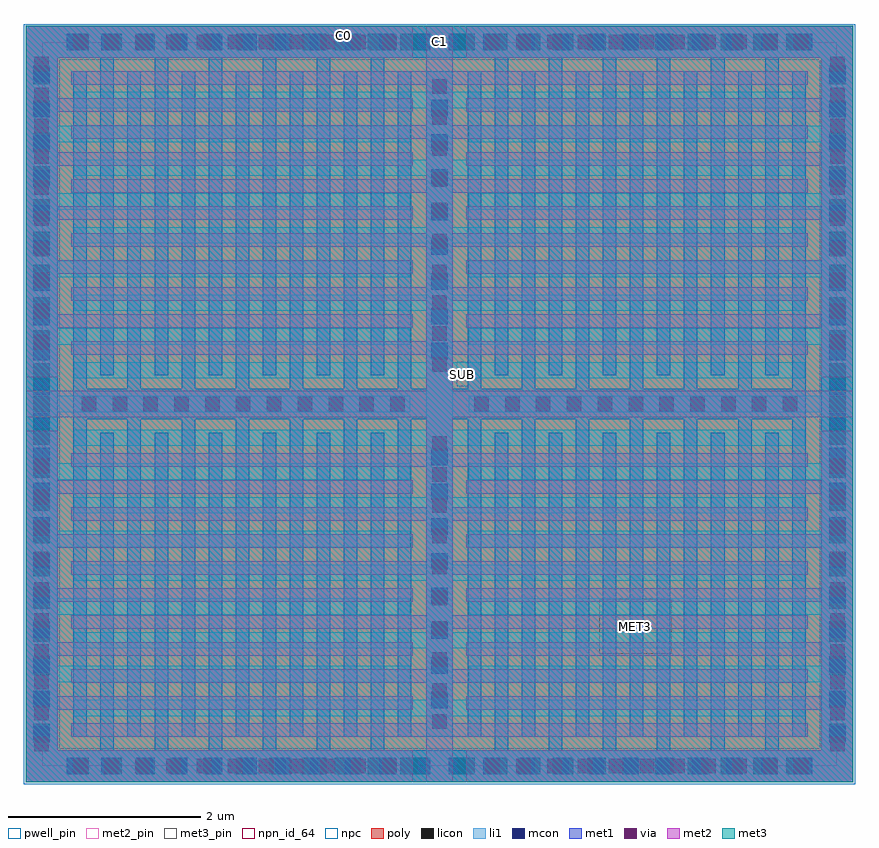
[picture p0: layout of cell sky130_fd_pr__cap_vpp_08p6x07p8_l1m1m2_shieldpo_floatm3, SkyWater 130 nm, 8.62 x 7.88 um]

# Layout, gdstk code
import gdstk
lib = gdstk.Library(unit=1e-6, precision=1e-09)
def R(c, l, rs):  # rectangles x0, y0, x1, y1
    for r in rs: c.add(gdstk.rectangle(r[:2], r[2:], *l))
def A(c, l, x, y, w, h, nx, ny, dx, dy):  # array of equal rectangles
    R(c, l, [(x+i*dx, y+j*dy, x+i*dx+w, y+j*dy+h) for i in range(nx) for j in range(ny)])
poly = (66, 20)
licon = (66, 44)
li1 = (67, 20)
mcon = (67, 44)
met1 = (68, 20)
via = (68, 44)
met2_pin = (69, 16)
met2 = (69, 20)
met3_pin = (70, 16)
met3 = (70, 20)
npn_id_64 = (82, 64)
npc = (95, 20)
pwell_pin = (122, 16)

sky130_fd_pr__cap_vpp_08 = lib.new_cell('sky130_fd_pr__cap_vpp_08p6x07p8_l1m1m2_shieldpo_floatm3')
R(sky130_fd_pr__cap_vpp_08, poly, [(0,0,4.44,4.59), (4.17,0,8.58,4.59), (0,4.27,4.44,7.84), (4.17,4.27,8.58,7.84)])
A(sky130_fd_pr__cap_vpp_08, licon, 0.485, 0.08, 0.17, 0.17, 11, 2, 0.34, 7.51)
A(sky130_fd_pr__cap_vpp_08, licon, 4.485, 0.08, 0.17, 0.17, 11, 2, 0.34, 7.51)
A(sky130_fd_pr__cap_vpp_08, licon, 0.08, 0.435, 0.17, 0.17, 1, 21, 0, 0.34)
A(sky130_fd_pr__cap_vpp_08, licon, 8.33, 0.435, 0.17, 0.17, 1, 21, 0, 0.34)
A(sky130_fd_pr__cap_vpp_08, li1, 0.5, 0.685, 3.905, 0.17, 1, 5, 0, 0.7)
A(sky130_fd_pr__cap_vpp_08, li1, 4.405, 0.685, 3.675, 0.17, 1, 10, 0, 0.7)
A(sky130_fd_pr__cap_vpp_08, li1, 0.33, 1.035, 3.655, 0.17, 1, 9, 0, 0.7)
A(sky130_fd_pr__cap_vpp_08, li1, 4.595, 1.035, 3.655, 0.17, 1, 9, 0, 0.7)
A(sky130_fd_pr__cap_vpp_08, li1, 0.5, 4.885, 3.905, 0.17, 1, 4, 0, 0.7)
R(sky130_fd_pr__cap_vpp_08, li1, [(0,0,0.33,4.73), (0.33,0,8.58,0.33), (8.25,0,8.58,4.73), (4.155,0.685,4.425,4.84), (0.5,4.185,4.155,4.355), (4.155,4.545,4.425,7.155), (0,4.73,0.33,7.84), (8.25,4.73,8.58,7.84), (0,7.51,8.58,7.84)])
A(sky130_fd_pr__cap_vpp_08, mcon, 0.425, 0.08, 0.17, 0.17, 22, 2, 0.36, 7.51)
A(sky130_fd_pr__cap_vpp_08, mcon, 0.08, 0.415, 0.17, 0.17, 1, 20, 0, 0.36)
A(sky130_fd_pr__cap_vpp_08, mcon, 8.33, 0.415, 0.17, 0.17, 1, 20, 0, 0.36)
A(sky130_fd_pr__cap_vpp_08, mcon, 4.205, 0.765, 0.17, 0.17, 1, 8, 0, 0.36)
A(sky130_fd_pr__cap_vpp_08, mcon, 4.205, 4.385, 0.17, 0.17, 1, 8, 0, 0.36)
A(sky130_fd_pr__cap_vpp_08, met1, 0.775, 0.32, 0.14, 3.3, 6, 2, 0.56, 3.9)
A(sky130_fd_pr__cap_vpp_08, met1, 4.865, 0.32, 0.14, 3.3, 6, 2, 0.56, 3.9)
A(sky130_fd_pr__cap_vpp_08, met1, 0.495, 0.47, 0.14, 3.29, 7, 2, 0.56, 3.61)
A(sky130_fd_pr__cap_vpp_08, met1, 4.585, 0.47, 0.14, 3.29, 7, 2, 0.56, 3.61)
R(sky130_fd_pr__cap_vpp_08, met1, [(0,0,4.44,0.33), (4.17,0,8.58,0.33), (0,0.32,0.33,4.13), (8.25,0.32,8.58,4.13), (4.155,0.47,4.425,4.43), (0.495,3.76,4.425,4.08), (4.155,3.76,8.085,4.08), (0,4.13,0.33,4.59), (8.25,4.13,8.58,4.73), (0,4.27,0.33,4.73), (4.155,4.43,4.425,7.37), (0,4.73,0.33,7.84), (8.25,4.73,8.58,7.84), (0,7.51,4.425,7.84), (4.155,7.51,8.58,7.84)])
A(sky130_fd_pr__cap_vpp_08, via, 0.09, 0.32, 0.15, 0.15, 1, 10, 0, 0.32)
A(sky130_fd_pr__cap_vpp_08, via, 8.34, 0.32, 0.15, 0.15, 1, 10, 0, 0.32)
A(sky130_fd_pr__cap_vpp_08, via, 4.215, 0.555, 0.15, 0.15, 1, 10, 0, 0.32)
A(sky130_fd_pr__cap_vpp_08, via, 0.58, 3.845, 0.15, 0.15, 11, 1, 0.32, 0)
A(sky130_fd_pr__cap_vpp_08, via, 4.65, 3.845, 0.15, 0.15, 11, 1, 0.32, 0)
A(sky130_fd_pr__cap_vpp_08, via, 4.215, 4.255, 0.15, 0.15, 1, 10, 0, 0.32)
A(sky130_fd_pr__cap_vpp_08, via, 0.09, 4.49, 0.15, 0.15, 1, 10, 0, 0.32)
A(sky130_fd_pr__cap_vpp_08, via, 8.34, 4.49, 0.15, 0.15, 1, 10, 0, 0.32)
R(sky130_fd_pr__cap_vpp_08, via, [(0.495,0.09,0.645,0.24), (0.495,0.09,0.645,0.24), (0.815,0.09,0.965,0.24), (0.815,0.09,0.965,0.24), (1.135,0.09,1.285,0.24), (1.135,0.09,1.285,0.24), (1.455,0.09,1.605,0.24), (1.455,0.09,1.605,0.24), (1.775,0.09,1.925,0.24), (1.775,0.09,1.925,0.24), (2.095,0.09,2.245,0.24), (2.095,0.09,2.245,0.24), (2.415,0.09,2.565,0.24), (2.415,0.09,2.565,0.24), (2.735,0.09,2.885,0.24), (2.735,0.09,2.885,0.24), (3.055,0.09,3.205,0.24), (3.055,0.09,3.205,0.24), (3.375,0.09,3.525,0.24), (3.375,0.09,3.525,0.24), (3.695,0.09,3.845,0.24), (3.695,0.09,3.845,0.24), (4.765,0.09,4.915,0.24), (4.765,0.09,4.915,0.24), (5.085,0.09,5.235,0.24), (5.085,0.09,5.235,0.24), (5.405,0.09,5.555,0.24), (5.405,0.09,5.555,0.24), (5.725,0.09,5.875,0.24), (5.725,0.09,5.875,0.24), (6.045,0.09,6.195,0.24), (6.045,0.09,6.195,0.24), (6.365,0.09,6.515,0.24), (6.365,0.09,6.515,0.24), (6.685,0.09,6.835,0.24), (6.685,0.09,6.835,0.24), (7.005,0.09,7.155,0.24), (7.005,0.09,7.155,0.24), (7.325,0.09,7.475,0.24), (7.325,0.09,7.475,0.24), (7.645,0.09,7.795,0.24), (7.645,0.09,7.795,0.24), (7.965,0.09,8.115,0.24), (7.965,0.09,8.115,0.24), (0.495,7.6,0.645,7.75), (0.495,7.6,0.645,7.75), (0.815,7.6,0.965,7.75), (0.815,7.6,0.965,7.75), (1.135,7.6,1.285,7.75), (1.135,7.6,1.285,7.75), (1.455,7.6,1.605,7.75), (1.455,7.6,1.605,7.75), (1.775,7.6,1.925,7.75), (1.775,7.6,1.925,7.75), (2.095,7.6,2.245,7.75), (2.095,7.6,2.245,7.75), (2.415,7.6,2.565,7.75), (2.415,7.6,2.565,7.75), (2.735,7.6,2.885,7.75), (2.735,7.6,2.885,7.75), (3.055,7.6,3.205,7.75), (3.055,7.6,3.205,7.75), (3.375,7.6,3.525,7.75), (3.375,7.6,3.525,7.75), (3.695,7.6,3.845,7.75), (3.695,7.6,3.845,7.75), (4.765,7.6,4.915,7.75), (4.765,7.6,4.915,7.75), (5.085,7.6,5.235,7.75), (5.085,7.6,5.235,7.75), (5.405,7.6,5.555,7.75), (5.405,7.6,5.555,7.75), (5.725,7.6,5.875,7.75), (5.725,7.6,5.875,7.75), (6.045,7.6,6.195,7.75), (6.045,7.6,6.195,7.75), (6.365,7.6,6.515,7.75), (6.365,7.6,6.515,7.75), (6.685,7.6,6.835,7.75), (6.685,7.6,6.835,7.75), (7.005,7.6,7.155,7.75), (7.005,7.6,7.155,7.75), (7.325,7.6,7.475,7.75), (7.325,7.6,7.475,7.75), (7.645,7.6,7.795,7.75), (7.645,7.6,7.795,7.75), (7.965,7.6,8.115,7.75), (7.965,7.6,8.115,7.75)])
R(sky130_fd_pr__cap_vpp_08, met2_pin, [(4.2,7.59,4.39,7.775), (3.23,7.665,3.36,7.815)])
A(sky130_fd_pr__cap_vpp_08, met2, 0.47, 0.47, 3.685, 0.14, 1, 6, 0, 0.56)
A(sky130_fd_pr__cap_vpp_08, met2, 4.425, 0.47, 3.685, 0.14, 1, 6, 0, 0.56)
A(sky130_fd_pr__cap_vpp_08, met2, 0.33, 0.75, 3.685, 0.14, 1, 5, 0, 0.56)
A(sky130_fd_pr__cap_vpp_08, met2, 4.565, 0.75, 3.685, 0.14, 1, 5, 0, 0.56)
A(sky130_fd_pr__cap_vpp_08, met2, 0.47, 4.43, 3.685, 0.14, 1, 6, 0, 0.56)
A(sky130_fd_pr__cap_vpp_08, met2, 4.425, 4.43, 3.685, 0.14, 1, 6, 0, 0.56)
A(sky130_fd_pr__cap_vpp_08, met2, 0.33, 4.71, 3.685, 0.14, 1, 5, 0, 0.56)
A(sky130_fd_pr__cap_vpp_08, met2, 4.565, 4.71, 3.685, 0.14, 1, 5, 0, 0.56)
R(sky130_fd_pr__cap_vpp_08, met2, [(0,0,4.015,0.33), (4.155,0,4.425,3.785), (4.565,0,8.58,0.33), (0,0.32,0.33,3.645), (8.25,0.32,8.58,3.645), (0,3.785,4.425,4.055), (4.155,3.785,8.58,4.055), (4.155,4.055,4.425,7.84), (0,4.195,0.33,7.84), (8.25,4.195,8.58,7.84), (0,7.51,4.015,7.84), (4.565,7.51,8.58,7.84)])
R(sky130_fd_pr__cap_vpp_08, met3_pin, [(5.945,1.33,6.7,1.895)])
R(sky130_fd_pr__cap_vpp_08, met3, [(0,0,8.58,7.84)])
R(sky130_fd_pr__cap_vpp_08, npn_id_64, [(0.17,0.17,8.41,7.67)])
R(sky130_fd_pr__cap_vpp_08, npc, [(-0.02,-0.02,8.6,0.35), (-0.02,-0.02,0.35,7.86), (8.23,-0.02,8.6,7.86), (-0.02,7.49,8.6,7.86)])
R(sky130_fd_pr__cap_vpp_08, pwell_pin, [(4.47,4.105,4.59,4.36)])
sky130_fd_pr__cap_vpp_08.add(gdstk.Label('MET3', (6.325,1.615), layer=70, texttype=5))
sky130_fd_pr__cap_vpp_08.add(gdstk.Label('SUB', (4.53,4.23), layer=64, texttype=59))
sky130_fd_pr__cap_vpp_08.add(gdstk.Label('C1', (4.295,7.68), layer=69, texttype=5))
sky130_fd_pr__cap_vpp_08.add(gdstk.Label('C0', (3.295,7.74), layer=69, texttype=5))

lib.write_gds('sky130_fd_pr__cap_vpp_08p6x07p8_l1m1m2_shieldpo_floatm3.gds')
